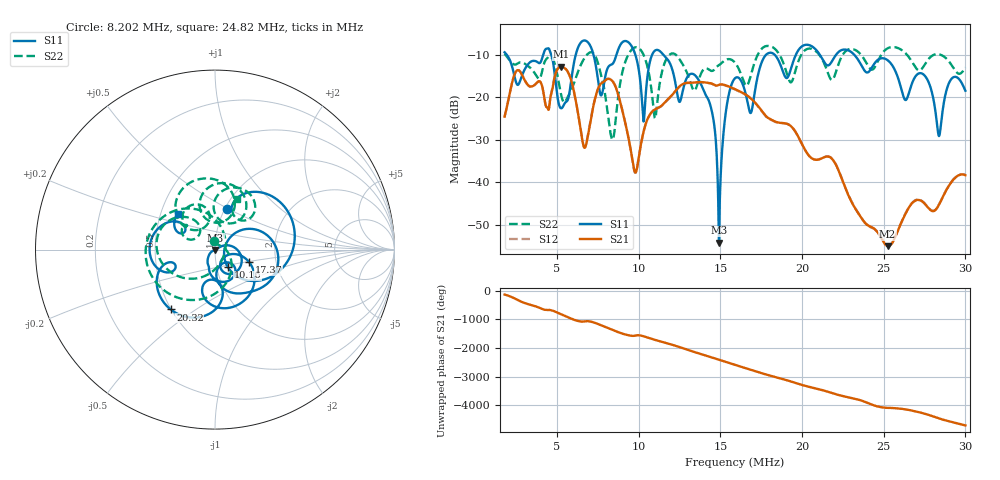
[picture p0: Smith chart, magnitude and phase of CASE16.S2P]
!Agilent Technologies,E5061B,MY49101568,A.02.00
!Date: Wed Mar 01 15:06:29 2023
!Data & Calibration Information:
!Freq	S11:SOLT2(OFF)	S21:SOLT2(OFF)	S12:SOLT2(OFF)	S22:SOLT2(OFF)
# Hz S dB R 50
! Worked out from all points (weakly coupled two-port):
!   1155 points, 1.8 MHz to 30 MHz, reference 50 ohm
!   highest |S21| = -12.83 dB at 5.246 MHz (marker M1); lowest = -55.0 dB at 25.23 MHz (marker M2)
!   lowest |S11| = -54.2 dB at 14.92 MHz (marker M3), VSWR 1.00, Z = 50.1 - j0.147 ohm
!   |S11| at or under -10 dB: 1.931 MHz to 4.158 MHz (2.227 MHz wide, 73.2 % of centre); 11.52 MHz to 17.8 MHz (6.278 MHz wide, 42.8 % of centre); 23.2 MHz to end of sweep (the widest 3 of 8)
!   |S22| runs from -30.0 to -7.9 dB; largest |S21 - S12| = 0.0024
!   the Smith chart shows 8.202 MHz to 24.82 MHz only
!   S11 on the Smith chart (normalised r, x): 8.202 MHz: 1.03, +0.49; 10.16 MHz: 1.13, -0.22; 17.37 MHz: 1.45, -0.22; 20.32 MHz: 0.50, -0.40; 24.82 MHz: 0.61, +0.26
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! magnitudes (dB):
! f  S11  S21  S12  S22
! 1.8 MHz  -9.4  -24.5  -24.5  -9.8
! 2.606 MHz  -17.1  -13.6  -13.6  -12.0
! 4.488 MHz  -8.5  -23.0  -22.9  -10.4
! 5.246 MHz  -22.6  -12.8  -12.8  -19.2
! 6.516 MHz  -6.9  -29.2  -29.0  -12.0
! 7.372 MHz  -12.3  -19.8  -19.7  -10.4
! 8.202 MHz  -12.6  -15.7  -15.6  -26.5
! 9.375 MHz  -7.1  -29.4  -29.5  -9.9
! 10.16 MHz  -18.3  -30.8  -30.7  -9.0
! 11.21 MHz  -8.9  -22.5  -22.5  -19.1
! 14.29 MHz  -20.7  -16.6  -16.6  -13.4
! 14.92 MHz  -54.2  -17.1  -17.1  -12.4
! 15.9 MHz  -15.5  -18.1  -18.2  -11.9
! 16.85 MHz  -23.7  -20.2  -20.2  -15.0
! 17.37 MHz  -13.8  -22.3  -22.4  -9.5
! 20.32 MHz  -7.6  -33.2  -33.2  -8.6
! 20.62 MHz  -8.0  -34.4  -34.4  -8.6
! 24.82 MHz  -10.8  -52.9  -52.7  -10.2
! 25.23 MHz  -11.3  -55.0  -54.9  -8.5
! 25.31 MHz  -11.5  -55.0  -54.9  -8.4
! 28.39 MHz  -29.1  -45.2  -45.2  -9.9
! 30 MHz  -18.4  -38.3  -38.3  -13.0
